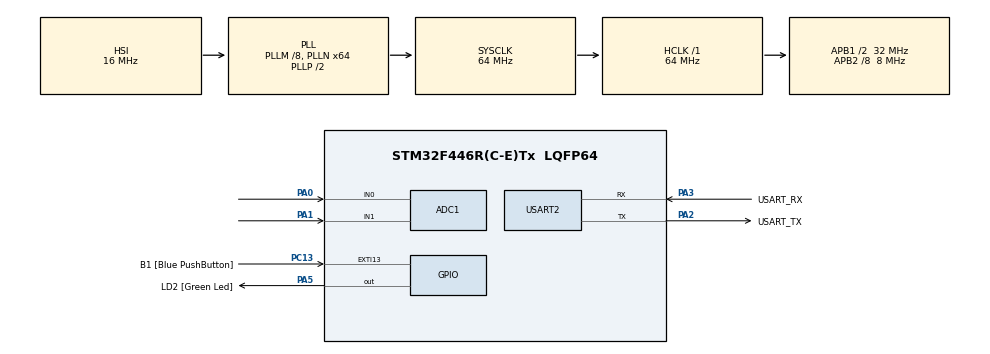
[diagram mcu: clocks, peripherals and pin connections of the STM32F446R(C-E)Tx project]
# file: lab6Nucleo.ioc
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ADC1.Channel-0\#ChannelRegularConversion=ADC_CHANNEL_0
ADC1.Channel-1\#ChannelRegularConversion=ADC_CHANNEL_1
ADC1.ClockPrescaler=ADC_CLOCK_SYNC_PCLK_DIV8
ADC1.EOCSelection=ADC_EOC_SEQ_CONV
ADC1.NbrOfConversion=2
ADC1.NbrOfConversionFlag=1
ADC1.Rank-0\#ChannelRegularConversion=1
ADC1.Rank-1\#ChannelRegularConversion=2
ADC1.SamplingTime-0\#ChannelRegularConversion=ADC_SAMPLETIME_3CYCLES
ADC1.SamplingTime-1\#ChannelRegularConversion=ADC_SAMPLETIME_3CYCLES
ADC1.ScanConvMode=ENABLE
ADC1.master=1
Dma.ADC1.0.Direction=DMA_PERIPH_TO_MEMORY
Dma.ADC1.0.FIFOMode=DMA_FIFOMODE_DISABLE
Dma.ADC1.0.Instance=DMA2_Stream0
Dma.ADC1.0.MemDataAlignment=DMA_MDATAALIGN_HALFWORD
Dma.ADC1.0.MemInc=DMA_MINC_ENABLE
Dma.ADC1.0.Mode=DMA_NORMAL
Dma.ADC1.0.PeriphDataAlignment=DMA_PDATAALIGN_HALFWORD
Dma.ADC1.0.PeriphInc=DMA_PINC_DISABLE
Dma.ADC1.0.Priority=DMA_PRIORITY_LOW
Dma.Request0=ADC1
Mcu.Family=STM32F4
Mcu.Name=STM32F446R(C-E)Tx
Mcu.Package=LQFP64
NVIC.ADC_IRQn=true\:0\:0\:false\:false\:true\:true\:true\:true
NVIC.DMA2_Stream0_IRQn=true\:0\:0\:false\:false\:true\:false\:true\:true
NVIC.PriorityGroup=NVIC_PRIORITYGROUP_0
NVIC.USART2_IRQn=true\:0\:0\:false\:false\:true\:true\:true\:true
PA0-WKUP.Signal=ADCx_IN0
PA1.Signal=ADCx_IN1
PA13.GPIO_Label=TMS
PA13.Mode=Serial_Wire
PA13.Signal=SYS_JTMS-SWDIO
PA14.GPIO_Label=TCK
PA14.Mode=Serial_Wire
PA14.Signal=SYS_JTCK-SWCLK
PA2.GPIO_Label=USART_TX
PA2.Mode=Asynchronous
PA2.Signal=USART2_TX
PA3.GPIO_Label=USART_RX
PA3.Mode=Asynchronous
PA3.Signal=USART2_RX
PA5.GPIO_Label=LD2 [Green Led]
PA5.Signal=GPIO_Output
PB3.GPIO_Label=SWO
PB3.Signal=SYS_JTDO-SWO
PC13.GPIO_Label=B1 [Blue PushButton]
PC13.GPIO_ModeDefaultEXTI=GPIO_MODE_IT_FALLING
PC13.Signal=GPXTI13
PC14-OSC32_IN.Mode=LSE-External-Oscillator
PC14-OSC32_IN.Signal=RCC_OSC32_IN
PC15-OSC32_OUT.Mode=LSE-External-Oscillator
PC15-OSC32_OUT.Signal=RCC_OSC32_OUT
PH0-OSC_IN.Mode=HSE-External-Oscillator
PH0-OSC_IN.Signal=RCC_OSC_IN
PH1-OSC_OUT.Mode=HSE-External-Oscillator
PH1-OSC_OUT.Signal=RCC_OSC_OUT
ProjectManager.HeapSize=0x200
ProjectManager.StackSize=0x400
ProjectManager.TargetToolchain=STM32CubeIDE
RCC.48MHZClocksFreq_Value=84000000
RCC.AHBFreq_Value=64000000
RCC.APB1CLKDivider=RCC_HCLK_DIV2
RCC.APB1Freq_Value=32000000
RCC.APB1TimFreq_Value=64000000
RCC.APB2CLKDivider=RCC_HCLK_DIV8
RCC.APB2Freq_Value=8000000
RCC.APB2TimFreq_Value=16000000
RCC.CortexFreq_Value=64000000
RCC.FLatency-AdvancedSettings=FLASH_LATENCY_2
RCC.HCLKFreq_Value=64000000
RCC.HSE_VALUE=8000000
RCC.HSI_VALUE=16000000
RCC.PLLM=8
RCC.PLLN=64
RCC.SYSCLKFreq_VALUE=64000000
RCC.SYSCLKSource=RCC_SYSCLKSOURCE_PLLCLK
RCC.USBFreq_Value=64000000
RCC.VCOOutputFreq_Value=128000000
SH.ADCx_IN0.0=ADC1_IN0,IN0
SH.ADCx_IN1.0=ADC1_IN1,IN1
USART2.VirtualMode=VM_ASYNC
board=NUCLEO-F446RE

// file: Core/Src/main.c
/* USER CODE BEGIN Header */
/**
  ******************************************************************************
  * @file           : main.c
  * @brief          : Main program body
  ******************************************************************************
  * @attention
  *
  * Copyright (c) 2026 STMicroelectronics.
  * All rights reserved.
  *
  * This software is licensed under terms that can be found in the LICENSE file
  * in the root directory of this software component.
  * If no LICENSE file comes with this software, it is provided AS-IS.
  *
  ******************************************************************************
  */
/* USER CODE END Header */
#include "main.h"

/* USER CODE BEGIN Includes */
#include <stdio.h>
#include <string.h>
/* USER CODE END Includes */

ADC_HandleTypeDef hadc1;
DMA_HandleTypeDef hdma_adc1;

UART_HandleTypeDef huart2;

/* USER CODE BEGIN PV */
uint16_t ADCValores[2];
uint8_t stateADC = 0;
uint8_t bufferR[20];
uint8_t bufferT[64];
uint8_t rxByte;
uint8_t rxIndex = 0;
char *joy1;
char *joy2;

/* USER CODE END PV */

void SystemClock_Config(void);
static void MX_GPIO_Init(void);
static void MX_DMA_Init(void);
static void MX_ADC1_Init(void);
static void MX_USART2_UART_Init(void);

int main(void)
{

  /* MCU Configuration--------------------------------------------------------*/

  /* Reset of all peripherals, Initializes the Flash interface and the Systick. */
  HAL_Init();

  /* Configure the system clock */
  SystemClock_Config();

  /* Initialize all configured peripherals */
  MX_GPIO_Init();
  MX_DMA_Init();
  MX_ADC1_Init();
  MX_USART2_UART_Init();
  /* USER CODE BEGIN 2 */

  HAL_ADC_Start_DMA(&hadc1, (uint32_t *)ADCValores, 2);
  HAL_UART_Receive_IT(&huart2, &rxByte, 1);
  /* USER CODE END 2 */

  /* Infinite loop */
  while (1)
  {

  }
}

void SystemClock_Config(void)
{
  RCC_OscInitTypeDef RCC_OscInitStruct = {0};
  RCC_ClkInitTypeDef RCC_ClkInitStruct = {0};

  /** Configure the main internal regulator output voltage
  */
  __HAL_RCC_PWR_CLK_ENABLE();
  __HAL_PWR_VOLTAGESCALING_CONFIG(PWR_REGULATOR_VOLTAGE_SCALE3);

  /** Initializes the RCC Oscillators according to the specified parameters
  * in the RCC_OscInitTypeDef structure.
  */
  RCC_OscInitStruct.OscillatorType = RCC_OSCILLATORTYPE_HSI;
  RCC_OscInitStruct.HSIState = RCC_HSI_ON;
  RCC_OscInitStruct.HSICalibrationValue = RCC_HSICALIBRATION_DEFAULT;
  RCC_OscInitStruct.PLL.PLLState = RCC_PLL_ON;
  RCC_OscInitStruct.PLL.PLLSource = RCC_PLLSOURCE_HSI;
  RCC_OscInitStruct.PLL.PLLM = 8;
  RCC_OscInitStruct.PLL.PLLN = 64;
  RCC_OscInitStruct.PLL.PLLP = RCC_PLLP_DIV2;
  RCC_OscInitStruct.PLL.PLLQ = 2;
  RCC_OscInitStruct.PLL.PLLR = 2;
  if (HAL_RCC_OscConfig(&RCC_OscInitStruct) != HAL_OK)
  {
    Error_Handler();
  }

  /** Initializes the CPU, AHB and APB buses clocks
  */
  RCC_ClkInitStruct.ClockType = RCC_CLOCKTYPE_HCLK|RCC_CLOCKTYPE_SYSCLK
                              |RCC_CLOCKTYPE_PCLK1|RCC_CLOCKTYPE_PCLK2;
  RCC_ClkInitStruct.SYSCLKSource = RCC_SYSCLKSOURCE_PLLCLK;
  RCC_ClkInitStruct.AHBCLKDivider = RCC_SYSCLK_DIV1;
  RCC_ClkInitStruct.APB1CLKDivider = RCC_HCLK_DIV2;
  RCC_ClkInitStruct.APB2CLKDivider = RCC_HCLK_DIV8;

  if (HAL_RCC_ClockConfig(&RCC_ClkInitStruct, FLASH_LATENCY_2) != HAL_OK)
  {
    Error_Handler();
  }
}

static void MX_ADC1_Init(void)
{

  ADC_ChannelConfTypeDef sConfig = {0};

  /** Configure the global features of the ADC (Clock, Resolution, Data Alignment and number of conversion)
  */
  hadc1.Instance = ADC1;
  hadc1.Init.ClockPrescaler = ADC_CLOCK_SYNC_PCLK_DIV8;
  hadc1.Init.Resolution = ADC_RESOLUTION_12B;
  hadc1.Init.ScanConvMode = ENABLE;
  hadc1.Init.ContinuousConvMode = DISABLE;
  hadc1.Init.DiscontinuousConvMode = DISABLE;
  hadc1.Init.ExternalTrigConvEdge = ADC_EXTERNALTRIGCONVEDGE_NONE;
  hadc1.Init.ExternalTrigConv = ADC_SOFTWARE_START;
  hadc1.Init.DataAlign = ADC_DATAALIGN_RIGHT;
  hadc1.Init.NbrOfConversion = 2;
  hadc1.Init.DMAContinuousRequests = DISABLE;
  hadc1.Init.EOCSelection = ADC_EOC_SEQ_CONV;
  if (HAL_ADC_Init(&hadc1) != HAL_OK)
  {
    Error_Handler();
  }

  /** Configure for the selected ADC regular channel its corresponding rank in the sequencer and its sample time.
  */
  sConfig.Channel = ADC_CHANNEL_0;
  sConfig.Rank = 1;
  sConfig.SamplingTime = ADC_SAMPLETIME_3CYCLES;
  if (HAL_ADC_ConfigChannel(&hadc1, &sConfig) != HAL_OK)
  {
    Error_Handler();
  }

  /** Configure for the selected ADC regular channel its corresponding rank in the sequencer and its sample time.
  */
  sConfig.Channel = ADC_CHANNEL_1;
  sConfig.Rank = 2;
  if (HAL_ADC_ConfigChannel(&hadc1, &sConfig) != HAL_OK)
  {
    Error_Handler();
  }

}

static void MX_USART2_UART_Init(void)
{

  huart2.Instance = USART2;
  huart2.Init.BaudRate = 115200;
  huart2.Init.WordLength = UART_WORDLENGTH_8B;
  huart2.Init.StopBits = UART_STOPBITS_1;
  huart2.Init.Parity = UART_PARITY_NONE;
  huart2.Init.Mode = UART_MODE_TX_RX;
  huart2.Init.HwFlowCtl = UART_HWCONTROL_NONE;
  huart2.Init.OverSampling = UART_OVERSAMPLING_16;
  if (HAL_UART_Init(&huart2) != HAL_OK)
  {
    Error_Handler();
  }

}

static void MX_DMA_Init(void)
{

  /* DMA controller clock enable */
  __HAL_RCC_DMA2_CLK_ENABLE();

  /* DMA interrupt init */
  /* DMA2_Stream0_IRQn interrupt configuration */
  HAL_NVIC_SetPriority(DMA2_Stream0_IRQn, 0, 0);
  HAL_NVIC_EnableIRQ(DMA2_Stream0_IRQn);

}

static void MX_GPIO_Init(void)
{
  GPIO_InitTypeDef GPIO_InitStruct = {0};

  /* GPIO Ports Clock Enable */
  __HAL_RCC_GPIOC_CLK_ENABLE();
  __HAL_RCC_GPIOH_CLK_ENABLE();
  __HAL_RCC_GPIOA_CLK_ENABLE();
  __HAL_RCC_GPIOB_CLK_ENABLE();

  /*Configure GPIO pin Output Level */
  HAL_GPIO_WritePin(LD2_GPIO_Port, LD2_Pin, GPIO_PIN_RESET);

  /*Configure GPIO pin : B1_Pin */
  GPIO_InitStruct.Pin = B1_Pin;
  GPIO_InitStruct.Mode = GPIO_MODE_IT_FALLING;
  GPIO_InitStruct.Pull = GPIO_NOPULL;
  HAL_GPIO_Init(B1_GPIO_Port, &GPIO_InitStruct);

  /*Configure GPIO pin : LD2_Pin */
  GPIO_InitStruct.Pin = LD2_Pin;
  GPIO_InitStruct.Mode = GPIO_MODE_OUTPUT_PP;
  GPIO_InitStruct.Pull = GPIO_NOPULL;
  GPIO_InitStruct.Speed = GPIO_SPEED_FREQ_LOW;
  HAL_GPIO_Init(LD2_GPIO_Port, &GPIO_InitStruct);

}

/* USER CODE BEGIN 4 */
void HAL_ADC_ConvCpltCallback(ADC_HandleTypeDef *hadc){
	if (hadc->Instance == ADC1)
	    {
	        if (ADCValores[0] >= 2047)
	            joy1 = "Arriba";
	        else
	            joy1 = "Abajo";

	        if (ADCValores[1] >= 2047)
	            joy2 = "Izquierda";
	        else
	            joy2 = "Derecha";

	        sprintf((char*)bufferT, "Joy1: %s  Joy2: %s\r\n", joy1, joy2);

	        HAL_UART_Transmit_IT(&huart2, bufferT, strlen((char*)bufferT));
	    }
}

void HAL_UART_TxCpltCallback(UART_HandleTypeDef *huart)
{
	if (huart->Instance == USART2)
	    {
	        HAL_ADC_Start_DMA(&hadc1, (uint32_t*)ADCValores, 2);
	    }
}
void HAL_UART_RxCpltCallback(UART_HandleTypeDef *huart)
{
    if (huart->Instance == USART2)
    {
        bufferR[rxIndex++] = rxByte;

        if (rxByte == '\n' || rxIndex >= sizeof(bufferR)-1)
        {
            bufferR[rxIndex] = '\0';

            sprintf((char*)bufferT, "RX: %s", bufferR);
            HAL_UART_Transmit_IT(&huart2, bufferT, strlen((char*)bufferT));

            rxIndex = 0;
        }

        HAL_UART_Receive_IT(&huart2, &rxByte, 1);
    }
}
/* USER CODE END 4 */

void Error_Handler(void)
{
  __disable_irq();
  while (1)
  {
  }
}
